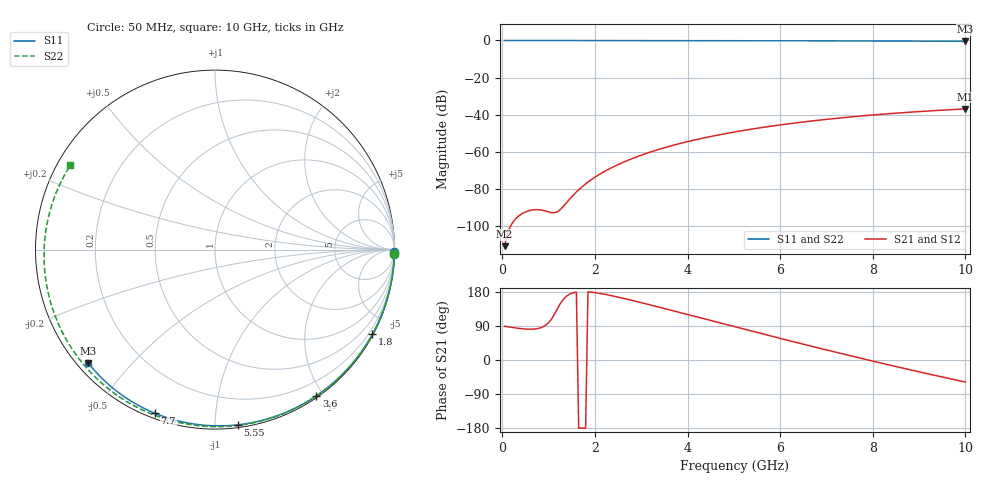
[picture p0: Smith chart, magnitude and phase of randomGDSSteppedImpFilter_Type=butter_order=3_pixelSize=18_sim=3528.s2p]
! freq	dB(S11)	phase(S11)	dB(S12)	phase(S12)
!  dB(S21)	phase(S21)	dB(S22)	phase(S22)
!S-par simulation data
#  GHz  S  DB  R 50
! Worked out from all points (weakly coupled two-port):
!   200 points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, 50 MHz to 10 GHz, reference 50 ohm
!   highest |S21| = -36.88 dB at 10 GHz (marker M1); lowest = -110.8 dB at 50 MHz (marker M2)
!   lowest |S11| = -0.5 dB at 10 GHz (marker M3), VSWR 37.06, Z = 1.55 - j19.1 ohm
!   |S11| at or under -10 dB: nowhere
!   |S22| runs from -0.6 to 0.0 dB; largest |S21 - S12| = 0
!   S11 on the Smith chart (normalised r, x): 50 MHz: open; 1.8 GHz: 0.03, -3.96; 3.6 GHz: 0.02, -1.91; 5.55 GHz: 0.02, -1.14; 7.7 GHz: 0.02, -0.70; 10 GHz: 0.03, -0.38
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0.05  -0.00 -0.8  -110.79 89.2  -110.79 89.2  -0.00 -1.3
0.4  -0.01 -6.4  -93.69 82.8  -93.69 82.8  -0.01 -10.1
0.8  -0.02 -12.7  -91.21 84.0  -91.21 84.0  -0.03 -20.2
1.2  -0.02 -19.0  -92.11 137.4  -92.11 137.4  -0.04 -30.1
1.65  -0.03 -26.0  -80.40 -179.8  -80.40 -179.8  -0.05 -41.1
1.75  -0.04 -27.5  -78.23 -179.5  -78.23 -179.5  -0.05 -43.5
1.8  -0.04 -28.3  -77.22 -179.7  -77.22 -179.7  -0.06 -44.7
2.1  -0.04 -32.9  -72.09 175.9  -72.09 175.9  -0.07 -51.8
2.5  -0.05 -39.0  -66.84 166.0  -66.84 166.0  -0.08 -61.1
2.9  -0.06 -45.0  -62.69 154.4  -62.69 154.4  -0.09 -70.1
3.4  -0.07 -52.4  -58.51 139.0  -58.51 139.0  -0.10 -81.1
3.6  -0.07 -55.3  -57.07 132.7  -57.07 132.7  -0.11 -85.4
4.3  -0.09 -65.3  -52.77 110.5  -52.77 110.5  -0.14 -100.1
5.05  -0.12 -75.7  -49.13 86.7  -49.13 86.7  -0.17 -115.1
5.55  -0.14 -82.5  -47.10 71.0  -47.10 71.0  -0.20 -124.8
6.15  -0.16 -90.5  -44.99 52.4  -44.99 52.4  -0.23 -136.2
6.7  -0.19 -97.6  -43.32 35.6  -43.32 35.6  -0.27 -146.5
7.2  -0.22 -103.9  -41.98 20.6  -41.98 20.6  -0.31 -155.8
7.7  -0.25 -110.2  -40.79 5.8  -40.79 5.8  -0.35 -165.1
8.35  -0.30 -118.2  -39.44 -13.0  -39.44 -13.0  -0.41 -177.3
9.2  -0.38 -128.4  -37.98 -36.8  -37.98 -36.8  -0.50 166.2
10  -0.47 -138.1  -36.88 -58.0  -36.88 -58.0  -0.60 149.8
